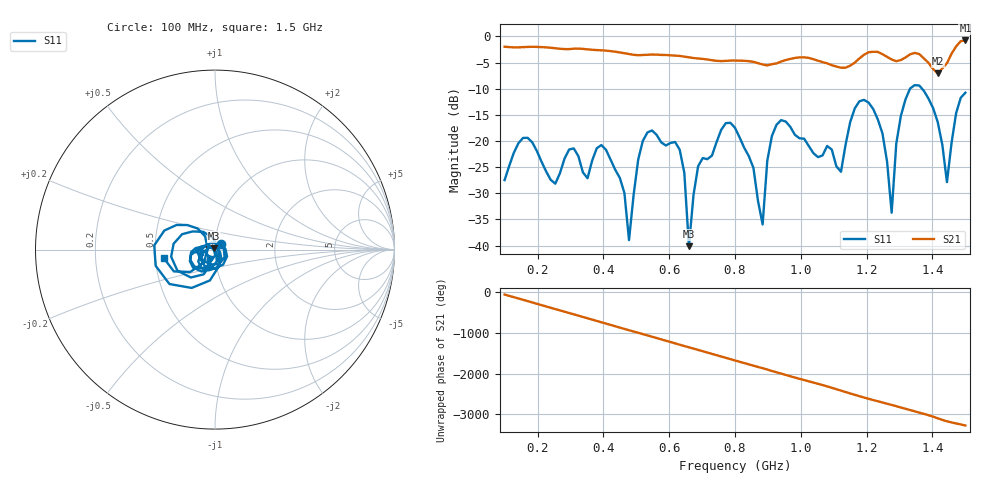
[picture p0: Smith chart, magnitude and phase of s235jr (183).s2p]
! NanoVNA-App
! Date: 2025-09-25 15:05:35
! Start: 100MHz Stop: 1,5GHz Points: 101
! S-Parameter data: F S11 S21 S12 S22
# Hz S RI R 50
!  Frequency  S11_Real  S11_Imag  S21_Real  S21_Imag  S12_Real  S12_Imag  S22_Real  S22_Imag
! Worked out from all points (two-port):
!   101 points, 100 MHz to 1.5 GHz, reference 50 ohm
!   highest |S21| = -0.77 dB at 1.5 GHz (marker M1); lowest = -7.1 dB at 1.416 GHz (marker M2)
!   |S21| within 3 dB of the highest: start of sweep to 635.9 MHz; 1.187 GHz to 1.258 GHz (71.71 MHz wide, 5.87 % of centre) (the widest 2 of 4)
!   lowest |S11| = -40.1 dB at 660 MHz (marker M3), VSWR 1.02, Z = 49.2 + j0.615 ohm
!   |S11| at or under -10 dB: start of sweep to 1.332 GHz; 1.368 GHz to end of sweep
!   S12 and S22 are empty: the file has one direction only
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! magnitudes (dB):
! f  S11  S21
! 100 MHz  -27.5  -2.0
! 156 MHz  -19.4  -2.0
! 338 MHz  -26.0  -2.4
! 408 MHz  -21.7  -2.7
! 478 MHz  -38.9  -3.4
! 520 MHz  -20.0  -3.5
! 576 MHz  -20.3  -3.5
! 632 MHz  -21.7  -3.7
! 660 MHz  -40.1  -4.0
! 688 MHz  -24.8  -4.2
! 800 MHz  -17.5  -4.6
! 884 MHz  -36.0  -5.4
! 926 MHz  -16.9  -5.2
! 1.038 GHz  -22.3  -4.4
! 1.122 GHz  -25.9  -6.0
! 1.206 GHz  -12.7  -3.0
! 1.276 GHz  -33.7  -4.4
! 1.29 GHz  -20.5  -4.7
! 1.332 GHz  -10.0  -3.4
! 1.416 GHz  -16.4  -7.1
! 1.444 GHz  -27.9  -5.1
! 1.5 GHz  -10.8  -0.8
